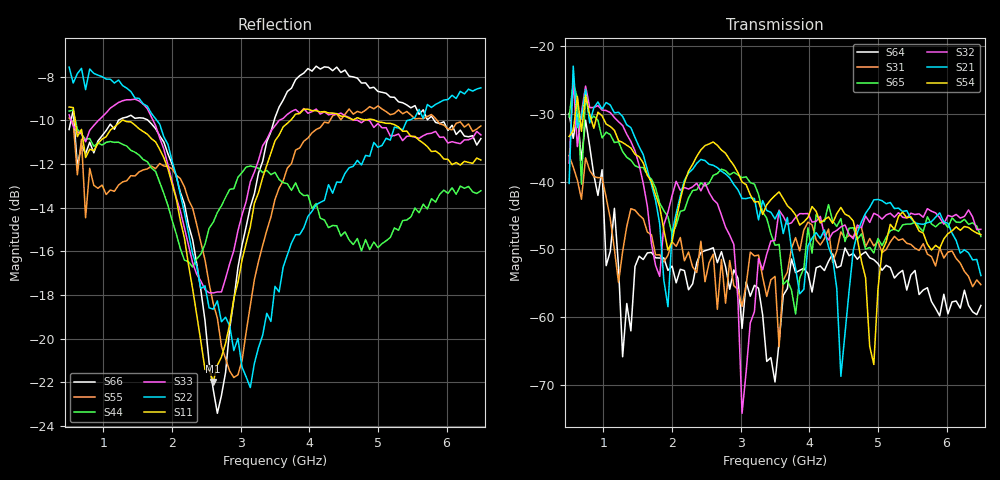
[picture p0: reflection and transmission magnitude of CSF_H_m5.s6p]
!Keysight Technologies,M9804A,MY58100912,A.14.10.03
!Date: Thursday, April 27, 2023 10:28:33
!Correction: S11(C  6-Port  )
!S12(C  6-Port  )
!S13(C  6-Port  )
!S14(C  6-Port  )
!S15(C  6-Port  )
!S16(C  6-Port  )
!S21(C  6-Port  )
!S22(C  6-Port  )
!S23(C  6-Port  )
!S24(C  6-Port  )
!S25(C  6-Port  )
!S26(C  6-Port  )
!S31(C  6-Port  )
!S32(C  6-Port  )
!S33(C  6-Port  )
!S34(C  6-Port  )
!S35(C  6-Port  )
!S36(C  6-Port  )
!S41(C  6-Port  )
!S42(C  6-Port  )
!S43(C  6-Port  )
!S44(C  6-Port  )
!S45(C  6-Port  )
!S46(C  6-Port  )
!S51(C  6-Port  )
!S52(C  6-Port  )
!S53(C  6-Port  )
!S54(C  6-Port  )
!S55(C  6-Port  )
!S56(C  6-Port  )
!S61(C  6-Port  )
!S62(C  6-Port  )
!S63(C  6-Port  )
!S64(C  6-Port  )
!S65(C  6-Port  )
!S66(C  6-Port  )
!S6P File: Measurement: :
# Hz S  RI  R 50
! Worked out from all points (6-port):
!   101 points, 500 MHz to 6.5 GHz, reference 50 ohm
!   strongest paths, dB at 500 MHz, 2 GHz, 3.5 GHz, 5 GHz, 6.5 GHz:
!     S54: -33.3, -48.9, -42.0, -55.9, -47.8
!     S21: -40.2, -47.5, -45.5, -42.6, -53.9
!     S32: -37.2, -42.1, -48.7, -45.0, -47.0
!     S65: -30.4, -47.7, -49.4, -48.4, -48.1
!     S31: -36.1, -48.9, -54.0, -48.8, -55.2
!     S64: -29.9, -52.5, -69.6, -52.1, -58.3
!   lowest |S11| = -22.0 dB at 2.6 GHz (marker M1), VSWR 1.17, Z = 42.8 + j1.91 ohm
!   |S11| at or under -10 dB: 586.1 MHz to 1.275 GHz (689.2 MHz wide, 74 % of centre); 1.289 GHz to 3.728 GHz (2.439 GHz wide, 97.2 % of centre); 4.954 GHz to end of sweep
